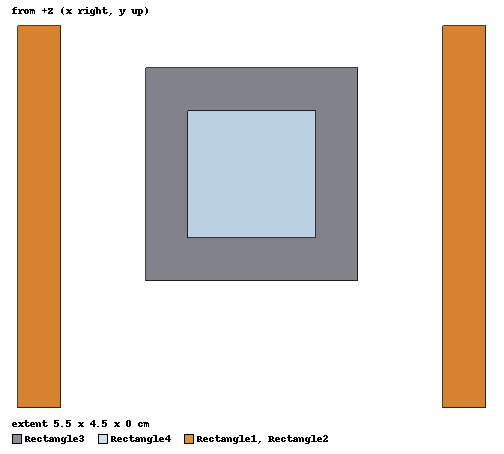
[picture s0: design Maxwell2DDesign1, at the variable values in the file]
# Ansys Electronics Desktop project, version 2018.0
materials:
  vacuum: permittivity=1
  copper: permeability=0.999991 conductivity=58000000
  air: permittivity=1.0006 permeability=1.0000004
  iron: permeability=4000 conductivity=10300000

design Maxwell2DDesign1 (Maxwell 2D, Electrostatic, XY geometry, model units cm)
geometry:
  Rectangle1 [copper] = rectangle(corner=(0cm, 0cm, 0cm), x_size=0.5cm, y_size=4.5cm)
  Rectangle2 [copper] = rectangle(corner=(5cm, 0cm, 0cm), x_size=0.5cm, y_size=4.5cm)
  Rectangle3 [iron] = rectangle(corner=(1.5cm, 4cm, 0cm), x_size=2.5cm, y_size=-2.5cm)
  Rectangle4 [air] = rectangle(corner=(2cm, 3.5cm, 0cm), x_size=1.5cm, y_size=-1.5cm)
  point Point1 = (2.75cm, 2.75cm, 0cm)
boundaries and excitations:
  Balloon1: Balloon Edges=Rectangle3.edge(all 4) IsOfTypeVoltage=true
  Floating1: Floating Objects=Rectangle3 Value=0
  Voltage1: Voltage Objects=Rectangle1 Value=0V
  Voltage2: Voltage Objects=Rectangle2 Value=100V
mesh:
  initial mesh: MeshMethod=AnsoftTAU
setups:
  Setup1: Electrostatic MaximumPasses=10 MinimumPasses=2 MinimumConvergedPasses=1 PercentRefinement=30 PercentError=1 NonLinearResidual=0.001
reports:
  Calculator Expressions Plot 1: Voltage vs X on Setup1 : LastAdaptive
  Calculator Expressions Table 1: Voltage vs X on Setup1 : LastAdaptive
